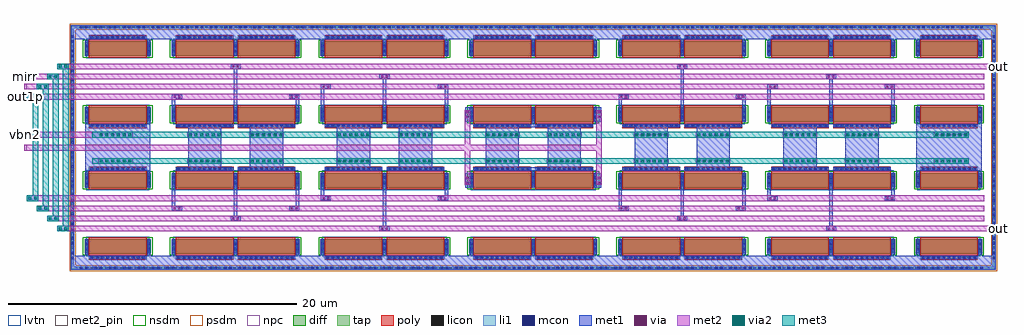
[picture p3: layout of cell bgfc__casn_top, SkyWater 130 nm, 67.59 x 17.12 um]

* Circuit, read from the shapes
.subckt bgfc__casn_top mirr out out1n out1p vbn1 vbn2
XM1 VSUBS VSUBS VSUBS VSUBS sky130_fd_pr__nfet_01v8_lvt w=1 l=4 m=24
XM2 vbn2 vbn2 vbn2 VSUBS sky130_fd_pr__nfet_01v8_lvt w=1 l=4 m=4
XM3 mirr vbn2 out1n VSUBS sky130_fd_pr__nfet_01v8_lvt w=1 l=4 m=8
XM4 out vbn2 out1p VSUBS sky130_fd_pr__nfet_01v8_lvt w=1 l=4 m=8
XM5 vbn2 vbn2 vbn1 VSUBS sky130_fd_pr__nfet_01v8_lvt w=1 l=4 m=4
.ends

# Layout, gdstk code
from math import pi, radians
import gdstk
lib = gdstk.Library(unit=1e-6, precision=1e-09)
def R(c, l, rs):  # rectangles x0, y0, x1, y1
    for r in rs: c.add(gdstk.rectangle(r[:2], r[2:], *l))
def A(c, l, x, y, w, h, nx, ny, dx, dy):  # array of equal rectangles
    R(c, l, [(x+i*dx, y+j*dy, x+i*dx+w, y+j*dy+h) for i in range(nx) for j in range(ny)])
diff = (65, 20)
tap = (65, 44)
poly = (66, 20)
licon = (66, 44)
li1 = (67, 20)
mcon = (67, 44)
met1 = (68, 20)
via = (68, 44)
met2_pin = (69, 16)
met2 = (69, 20)
via2 = (69, 44)
met3 = (70, 20)
nsdm = (93, 44)
psdm = (94, 20)
npc = (95, 20)
lvtn = (125, 44)

via__li_m1 = lib.new_cell('via__LI_M1')
R(via__li_m1, li1, [(0.03,0.03,0.56,0.2)])
R(via__li_m1, mcon, [(0.03,0.03,0.2,0.2), (0.39,0.03,0.56,0.2)])
R(via__li_m1, met1, [(0,0,0.59,0.23)])

bgfccnt__dum = lib.new_cell('bgfccnt__DUM')
R(bgfccnt__dum, diff, [(-2.29,-0.655,2.29,0.345)])
R(bgfccnt__dum, poly, [(-2,-0.785,2,0.785)])
A(bgfccnt__dum, licon, -2.23, -0.58, 0.17, 0.17, 1, 3, 0, 0.34)
A(bgfccnt__dum, licon, 2.06, -0.58, 0.17, 0.17, 1, 3, 0, 0.34)
A(bgfccnt__dum, licon, -1.785, 0.535, 0.17, 0.17, 11, 1, 0.34, 0)
R(bgfccnt__dum, li1, [(-2.23,-0.675,-2.06,0.365), (2.06,-0.675,2.23,0.365), (-2,0.535,2,0.705)])
A(bgfccnt__dum, mcon, -1.885, 0.535, 0.17, 0.17, 11, 1, 0.36, 0)
R(bgfccnt__dum, mcon, [(-2.23,-0.42,-2.06,-0.25), (2.06,-0.42,2.23,-0.25), (-2.23,-0.06,-2.06,0.11), (2.06,-0.06,2.23,0.11)])
R(bgfccnt__dum, met1, [(-2.26,-0.655,-2.03,0.345), (2.03,-0.655,2.26,0.345), (-1.98,0.505,1.98,0.735)])
R(bgfccnt__dum, nsdm, [(-2.415,-0.78,2.415,0.47)])
R(bgfccnt__dum, npc, [(-1.885,0.435,1.885,0.805)])
R(bgfccnt__dum, lvtn, [(-2.18,-0.835,2.18,0.525)])

via__m2_m3 = lib.new_cell('via__M2_M3')
R(via__m2_m3, met2, [(0,0,0.8,0.4)])
R(via__m2_m3, via2, [(0.1,0.1,0.3,0.3), (0.5,0.1,0.7,0.3)])
R(via__m2_m3, met3, [(0,0,0.8,0.4)])

via__m1_m2 = lib.new_cell('via__M1_M2')
R(via__m1_m2, met1, [(0,0.05,0.7,0.35)])
R(via__m1_m2, via, [(0.115,0.125,0.265,0.275), (0.435,0.125,0.585,0.275)])
R(via__m1_m2, met2, [(0.05,0,0.65,0.4)])

bgfccnt__m6 = lib.new_cell('bgfccnt__M6')
R(bgfccnt__m6, diff, [(-2.29,-0.655,2.29,0.345)])
R(bgfccnt__m6, poly, [(-2,-0.785,2,0.785)])
A(bgfccnt__m6, licon, -2.23, -0.58, 0.17, 0.17, 1, 3, 0, 0.34)
A(bgfccnt__m6, licon, 2.06, -0.58, 0.17, 0.17, 1, 3, 0, 0.34)
A(bgfccnt__m6, licon, -1.785, 0.535, 0.17, 0.17, 11, 1, 0.34, 0)
R(bgfccnt__m6, li1, [(-2.23,-0.675,-2.06,0.365), (2.06,-0.675,2.23,0.365), (-2,0.535,2,0.705)])
A(bgfccnt__m6, mcon, -1.885, 0.535, 0.17, 0.17, 11, 1, 0.36, 0)
R(bgfccnt__m6, mcon, [(-2.23,-0.42,-2.06,-0.25), (2.06,-0.42,2.23,-0.25), (-2.23,-0.06,-2.06,0.11), (2.06,-0.06,2.23,0.11)])
R(bgfccnt__m6, met1, [(-2.26,-0.655,-2.03,0.345), (2.03,-0.655,2.26,0.345), (-1.98,0.505,1.98,0.735)])
R(bgfccnt__m6, nsdm, [(-2.415,-0.78,2.415,0.47)])
R(bgfccnt__m6, npc, [(-1.885,0.435,1.885,0.805)])
R(bgfccnt__m6, lvtn, [(-2.18,-0.835,2.18,0.525)])

bgfccnt__m7 = lib.new_cell('bgfccnt__M7')
R(bgfccnt__m7, diff, [(-2.29,-0.655,2.29,0.345)])
R(bgfccnt__m7, poly, [(-2,-0.785,2,0.785)])
A(bgfccnt__m7, licon, -2.23, -0.58, 0.17, 0.17, 1, 3, 0, 0.34)
A(bgfccnt__m7, licon, 2.06, -0.58, 0.17, 0.17, 1, 3, 0, 0.34)
A(bgfccnt__m7, licon, -1.785, 0.535, 0.17, 0.17, 11, 1, 0.34, 0)
R(bgfccnt__m7, li1, [(-2.23,-0.675,-2.06,0.365), (2.06,-0.675,2.23,0.365), (-2,0.535,2,0.705)])
A(bgfccnt__m7, mcon, -1.885, 0.535, 0.17, 0.17, 11, 1, 0.36, 0)
R(bgfccnt__m7, mcon, [(-2.23,-0.42,-2.06,-0.25), (2.06,-0.42,2.23,-0.25), (-2.23,-0.06,-2.06,0.11), (2.06,-0.06,2.23,0.11)])
R(bgfccnt__m7, met1, [(-2.26,-0.655,-2.03,0.345), (2.03,-0.655,2.26,0.345), (-1.98,0.505,1.98,0.735)])
R(bgfccnt__m7, nsdm, [(-2.415,-0.78,2.415,0.47)])
R(bgfccnt__m7, npc, [(-1.885,0.435,1.885,0.805)])
R(bgfccnt__m7, lvtn, [(-2.18,-0.835,2.18,0.525)])

bgfccnt__mb4 = lib.new_cell('bgfccnt__MB4')
R(bgfccnt__mb4, diff, [(-2.29,-0.655,2.29,0.345)])
R(bgfccnt__mb4, poly, [(-2,-0.785,2,0.785)])
A(bgfccnt__mb4, licon, -2.23, -0.58, 0.17, 0.17, 1, 3, 0, 0.34)
A(bgfccnt__mb4, licon, 2.06, -0.58, 0.17, 0.17, 1, 3, 0, 0.34)
A(bgfccnt__mb4, licon, -1.785, 0.535, 0.17, 0.17, 11, 1, 0.34, 0)
R(bgfccnt__mb4, li1, [(-2.23,-0.675,-2.06,0.365), (2.06,-0.675,2.23,0.365), (-2,0.535,2,0.705)])
A(bgfccnt__mb4, mcon, -1.885, 0.535, 0.17, 0.17, 11, 1, 0.36, 0)
R(bgfccnt__mb4, mcon, [(-2.23,-0.42,-2.06,-0.25), (2.06,-0.42,2.23,-0.25), (-2.23,-0.06,-2.06,0.11), (2.06,-0.06,2.23,0.11)])
R(bgfccnt__mb4, met1, [(-2.26,-0.655,-2.03,0.345), (2.03,-0.655,2.26,0.345), (-1.98,0.505,1.98,0.735)])
R(bgfccnt__mb4, nsdm, [(-2.415,-0.78,2.415,0.47)])
R(bgfccnt__mb4, npc, [(-1.885,0.435,1.885,0.805)])
R(bgfccnt__mb4, lvtn, [(-2.18,-0.835,2.18,0.525)])

bgfccnt__guardring_n = lib.new_cell('bgfccnt__Guardring_N')
R(bgfccnt__guardring_n, tap, [(-130.79,26.455,-66.8,26.625), (-130.79,26.625,-130.62,43.16), (-66.97,26.625,-66.8,43.16), (-130.79,43.16,-66.8,43.33)])
A(bgfccnt__guardring_n, licon, -129.79, 26.455, 0.17, 0.17, 182, 1, 0.34, 0)
A(bgfccnt__guardring_n, licon, -130.79, 27.54, 0.17, 0.17, 1, 44, 0, 0.34)
A(bgfccnt__guardring_n, licon, -66.97, 27.54, 0.17, 0.17, 1, 44, 0, 0.34)
A(bgfccnt__guardring_n, licon, -130, 43.16, 0.17, 0.17, 183, 1, 0.34, 0)
R(bgfccnt__guardring_n, li1, [(-130.79,26.455,-66.8,26.625), (-130.79,26.625,-130.62,43.16), (-66.97,26.625,-66.8,43.16), (-130.79,43.16,-66.8,43.33)])
R(bgfccnt__guardring_n, psdm, [(-130.915,26.33,-66.675,26.75), (-130.915,26.75,-130.495,43.035), (-67.095,26.75,-66.675,43.035), (-130.915,43.035,-66.675,43.455)])

bgfc__casn_top = lib.new_cell('bgfc__casn_top')
A(bgfc__casn_top, met1, 10.25, 1.055, 0.23, 0.32, 3, 2, 4.29, 14.695)
A(bgfc__casn_top, met1, 20.56, 1.055, 0.23, 0.32, 3, 2, 4.29, 14.695)
A(bgfc__casn_top, met1, 30.87, 1.055, 0.23, 0.32, 3, 2, 4.29, 14.695)
A(bgfc__casn_top, met1, 41.18, 1.055, 0.23, 0.32, 3, 2, 4.29, 14.695)
A(bgfc__casn_top, met1, 51.49, 1.055, 0.23, 0.32, 3, 2, 4.29, 14.695)
R(bgfc__casn_top, met1, [(3.25,0.095,67.3,1.055), (3.25,1.055,3.48,16.07), (4.23,1.055,4.46,1.375), (8.52,1.055,8.75,1.375), (61.8,1.055,62.03,1.375), (66.09,1.055,66.32,1.375), (67.07,1.055,67.3,16.07), (24.85,2.795,25.08,5.79), (55.78,2.795,56.01,5.79), (14.54,3.495,14.77,5.79), (45.47,3.495,45.7,5.79), (10.25,4.195,10.48,5.79), (18.83,4.195,19.06,5.79), (41.18,4.195,41.41,5.79), (49.76,4.195,49.99,5.79), (20.56,4.895,20.79,5.79), (29.14,4.895,29.37,5.79), (51.49,4.895,51.72,5.79), (60.07,4.895,60.3,5.79), (30.57,5.79,31.1,6.79), (39.45,5.79,39.98,6.79), (4.23,6.63,4.46,6.95), (8.52,6.63,8.75,6.95), (61.8,6.63,62.03,6.95), (66.09,6.63,66.32,6.95), (35.16,6.79,35.39,6.95), (4.23,6.95,4.625,7.18), (8.355,6.95,8.75,7.18), (35.11,6.95,35.44,7.18), (61.8,6.95,62.195,7.18), (65.925,6.95,66.32,7.18), (4.23,7.18,8.75,9.96), (11.36,7.18,13.66,9.96), (15.65,7.18,17.95,9.96), (21.67,7.18,23.97,9.96), (25.96,7.18,28.26,9.96), (31.98,7.18,34.28,9.96), (36.27,7.18,38.57,9.96), (42.29,7.18,44.59,9.96), (46.58,7.18,48.88,9.96), (52.6,7.18,54.9,9.96), (56.89,7.18,59.19,9.96), (61.8,7.18,66.32,9.96), (4.23,9.96,4.625,10.19), (8.355,9.96,8.75,10.19), (35.11,9.96,35.44,10.19), (61.8,9.96,62.195,10.19), (65.925,9.96,66.32,10.19), (4.23,10.19,4.46,10.51), (8.52,10.19,8.75,10.51), (35.16,10.19,35.39,10.35), (61.8,10.19,62.03,10.51), (66.09,10.19,66.32,10.51), (30.57,10.35,31.1,11.35), (39.45,10.35,39.98,11.35), (10.25,11.35,10.48,12.23), (14.54,11.35,14.77,14.33), (18.83,11.35,19.06,12.23), (20.56,11.35,20.79,12.93), (24.85,11.35,25.08,13.63), (29.14,11.35,29.37,12.93), (41.18,11.35,41.41,12.23), (45.47,11.35,45.7,14.33), (49.76,11.35,49.99,12.23), (51.49,11.35,51.72,12.93), (55.78,11.35,56.01,13.63), (60.07,11.35,60.3,12.93), (4.23,15.75,4.46,16.07), (8.52,15.75,8.75,16.07), (61.8,15.75,62.03,16.07), (66.09,15.75,66.32,16.07), (3.25,16.07,67.3,17.03)])
A(bgfc__casn_top, met2_pin, 0, 11.88, 0.2, 0.4, 1, 3, 0, 0.7)
R(bgfc__casn_top, met2_pin, [(67.395,2.745,67.595,3.145), (0,8.34,0.2,8.74), (0,9.255,0.2,9.655), (67.395,13.98,67.595,14.38)])
A(bgfc__casn_top, met2, 0, 11.88, 66.505, 0.4, 1, 3, 0, 0.7)
R(bgfc__casn_top, met2, [(2.3,2.745,67.595,3.145), (1.6,3.445,66.505,3.845), (0.9,4.145,66.505,4.545), (0.2,4.845,66.505,5.245), (39.63,5.99,40.03,8.34), (30.52,6.08,30.92,8.34), (0,8.34,40.03,8.74), (30.52,8.74,30.92,11.15), (39.63,8.74,40.03,11.15), (0,9.255,5.13,9.655), (2.3,13.98,67.595,14.38)])
R(bgfc__casn_top, met3, [(2.7,2.745,3.1,13.98), (2,3.445,2.4,13.28), (1.3,4.145,1.7,12.58), (0.6,4.845,1,11.88), (4.73,7.425,65.42,7.825), (4.73,9.255,65.42,9.655)])
bgfc__casn_top.add(gdstk.Reference(via__li_m1, (3.25,1.375), rotation=3*pi/2))
bgfc__casn_top.add(gdstk.Reference(via__li_m1, (3.835,0.095)))
bgfc__casn_top.add(gdstk.Reference(via__li_m1, (4.835,0.095)))
bgfc__casn_top.add(gdstk.Reference(bgfccnt__dum, (6.49,1.56), rotation=pi))
bgfc__casn_top.add(gdstk.Reference(via__li_m1, (5.835,0.095)))
bgfc__casn_top.add(gdstk.Reference(via__li_m1, (6.835,0.095)))
bgfc__casn_top.add(gdstk.Reference(via__li_m1, (7.835,0.095)))
bgfc__casn_top.add(gdstk.Reference(via__li_m1, (8.835,0.095)))
bgfc__casn_top.add(gdstk.Reference(via__li_m1, (9.835,0.095)))
bgfc__casn_top.add(gdstk.Reference(via__li_m1, (10.835,0.095)))
bgfc__casn_top.add(gdstk.Reference(via__li_m1, (11.835,0.095)))
bgfc__casn_top.add(gdstk.Reference(via__li_m1, (12.835,0.095)))
bgfc__casn_top.add(gdstk.Reference(via__li_m1, (13.835,0.095)))
bgfc__casn_top.add(gdstk.Reference(bgfccnt__dum, (12.51,1.56), rotation=pi))
bgfc__casn_top.add(gdstk.Reference(bgfccnt__dum, (16.8,1.56), rotation=pi))
bgfc__casn_top.add(gdstk.Reference(via__li_m1, (14.835,0.095)))
bgfc__casn_top.add(gdstk.Reference(via__li_m1, (15.835,0.095)))
bgfc__casn_top.add(gdstk.Reference(via__li_m1, (16.835,0.095)))
bgfc__casn_top.add(gdstk.Reference(via__li_m1, (17.835,0.095)))
bgfc__casn_top.add(gdstk.Reference(via__li_m1, (18.835,0.095)))
bgfc__casn_top.add(gdstk.Reference(via__li_m1, (19.835,0.095)))
bgfc__casn_top.add(gdstk.Reference(via__li_m1, (20.835,0.095)))
bgfc__casn_top.add(gdstk.Reference(via__li_m1, (21.835,0.095)))
bgfc__casn_top.add(gdstk.Reference(via__li_m1, (22.835,0.095)))
bgfc__casn_top.add(gdstk.Reference(via__li_m1, (23.835,0.095)))
bgfc__casn_top.add(gdstk.Reference(bgfccnt__dum, (22.82,1.56), rotation=pi))
bgfc__casn_top.add(gdstk.Reference(via__li_m1, (24.835,0.095)))
bgfc__casn_top.add(gdstk.Reference(via__li_m1, (25.835,0.095)))
bgfc__casn_top.add(gdstk.Reference(via__li_m1, (26.835,0.095)))
bgfc__casn_top.add(gdstk.Reference(via__li_m1, (27.835,0.095)))
bgfc__casn_top.add(gdstk.Reference(via__li_m1, (28.835,0.095)))
bgfc__casn_top.add(gdstk.Reference(bgfccnt__dum, (27.11,1.56), rotation=pi))
bgfc__casn_top.add(gdstk.Reference(via__li_m1, (29.835,0.095)))
bgfc__casn_top.add(gdstk.Reference(via__li_m1, (30.835,0.095)))
bgfc__casn_top.add(gdstk.Reference(via__li_m1, (31.835,0.095)))
bgfc__casn_top.add(gdstk.Reference(via__li_m1, (32.835,0.095)))
bgfc__casn_top.add(gdstk.Reference(via__li_m1, (33.835,0.095)))
bgfc__casn_top.add(gdstk.Reference(bgfccnt__dum, (33.13,1.56), rotation=pi))
bgfc__casn_top.add(gdstk.Reference(via__li_m1, (34.835,0.095)))
bgfc__casn_top.add(gdstk.Reference(via__li_m1, (35.835,0.095)))
bgfc__casn_top.add(gdstk.Reference(via__li_m1, (36.835,0.095)))
bgfc__casn_top.add(gdstk.Reference(via__li_m1, (37.835,0.095)))
bgfc__casn_top.add(gdstk.Reference(via__li_m1, (38.835,0.095)))
bgfc__casn_top.add(gdstk.Reference(bgfccnt__dum, (37.42,1.56), rotation=pi))
bgfc__casn_top.add(gdstk.Reference(via__li_m1, (39.835,0.095)))
bgfc__casn_top.add(gdstk.Reference(via__li_m1, (40.835,0.095)))
bgfc__casn_top.add(gdstk.Reference(via__li_m1, (41.835,0.095)))
bgfc__casn_top.add(gdstk.Reference(via__li_m1, (42.835,0.095)))
bgfc__casn_top.add(gdstk.Reference(bgfccnt__dum, (43.44,1.56), rotation=pi))
bgfc__casn_top.add(gdstk.Reference(via__li_m1, (43.835,0.095)))
bgfc__casn_top.add(gdstk.Reference(via__li_m1, (44.835,0.095)))
bgfc__casn_top.add(gdstk.Reference(via__li_m1, (45.835,0.095)))
bgfc__casn_top.add(gdstk.Reference(via__li_m1, (46.835,0.095)))
bgfc__casn_top.add(gdstk.Reference(via__li_m1, (47.835,0.095)))
bgfc__casn_top.add(gdstk.Reference(bgfccnt__dum, (47.73,1.56), rotation=pi))
bgfc__casn_top.add(gdstk.Reference(via__li_m1, (48.835,0.095)))
bgfc__casn_top.add(gdstk.Reference(via__li_m1, (49.835,0.095)))
bgfc__casn_top.add(gdstk.Reference(via__li_m1, (50.835,0.095)))
bgfc__casn_top.add(gdstk.Reference(via__li_m1, (51.835,0.095)))
bgfc__casn_top.add(gdstk.Reference(via__li_m1, (52.835,0.095)))
bgfc__casn_top.add(gdstk.Reference(bgfccnt__dum, (53.75,1.56), rotation=pi))
bgfc__casn_top.add(gdstk.Reference(via__li_m1, (53.835,0.095)))
bgfc__casn_top.add(gdstk.Reference(via__li_m1, (54.835,0.095)))
bgfc__casn_top.add(gdstk.Reference(via__li_m1, (55.835,0.095)))
bgfc__casn_top.add(gdstk.Reference(via__li_m1, (56.835,0.095)))
bgfc__casn_top.add(gdstk.Reference(via__li_m1, (57.835,0.095)))
bgfc__casn_top.add(gdstk.Reference(bgfccnt__dum, (58.04,1.56), rotation=pi))
bgfc__casn_top.add(gdstk.Reference(via__li_m1, (58.835,0.095)))
bgfc__casn_top.add(gdstk.Reference(via__li_m1, (59.835,0.095)))
bgfc__casn_top.add(gdstk.Reference(via__li_m1, (60.835,0.095)))
bgfc__casn_top.add(gdstk.Reference(via__li_m1, (61.835,0.095)))
bgfc__casn_top.add(gdstk.Reference(via__li_m1, (62.835,0.095)))
bgfc__casn_top.add(gdstk.Reference(bgfccnt__dum, (64.06,1.56), rotation=pi))
bgfc__casn_top.add(gdstk.Reference(via__li_m1, (63.835,0.095)))
bgfc__casn_top.add(gdstk.Reference(via__li_m1, (64.835,0.095)))
bgfc__casn_top.add(gdstk.Reference(via__li_m1, (65.835,0.095)))
bgfc__casn_top.add(gdstk.Reference(via__li_m1, (67.07,1.375), rotation=3*pi/2))
bgfc__casn_top.add(gdstk.Reference(via__li_m1, (3.25,2.375), rotation=3*pi/2))
bgfc__casn_top.add(gdstk.Reference(via__li_m1, (3.25,3.375), rotation=3*pi/2))
bgfc__casn_top.add(gdstk.Reference(via__m2_m3, (2.3,2.745)))
bgfc__casn_top.add(gdstk.Reference(via__m1_m2, (24.615,2.745)))
bgfc__casn_top.add(gdstk.Reference(via__m1_m2, (55.545,2.745)))
bgfc__casn_top.add(gdstk.Reference(via__li_m1, (67.07,2.375), rotation=3*pi/2))
bgfc__casn_top.add(gdstk.Reference(via__li_m1, (67.07,3.375), rotation=3*pi/2))
bgfc__casn_top.add(gdstk.Reference(via__li_m1, (3.25,4.375), rotation=3*pi/2))
bgfc__casn_top.add(gdstk.Reference(via__m2_m3, (1.6,3.445)))
bgfc__casn_top.add(gdstk.Reference(via__m2_m3, (0.9,4.145)))
bgfc__casn_top.add(gdstk.Reference(via__m1_m2, (14.305,3.445)))
bgfc__casn_top.add(gdstk.Reference(via__m1_m2, (10.95,4.145), rotation=pi, x_reflection=True))
bgfc__casn_top.add(gdstk.Reference(via__m1_m2, (18.36,4.145)))
bgfc__casn_top.add(gdstk.Reference(via__m1_m2, (41.88,4.145), rotation=pi, x_reflection=True))
bgfc__casn_top.add(gdstk.Reference(via__m1_m2, (45.235,3.445)))
bgfc__casn_top.add(gdstk.Reference(via__m1_m2, (49.29,4.145)))
bgfc__casn_top.add(gdstk.Reference(via__li_m1, (67.07,4.375), rotation=3*pi/2))
bgfc__casn_top.add(gdstk.Reference(via__li_m1, (3.25,5.375), rotation=3*pi/2))
bgfc__casn_top.add(gdstk.Reference(via__li_m1, (3.25,6.375), rotation=3*pi/2))
bgfc__casn_top.add(gdstk.Reference(bgfccnt__dum, (6.49,6.445)))
bgfc__casn_top.add(gdstk.Reference(via__m2_m3, (0.2,4.845)))
bgfc__casn_top.add(gdstk.Reference(bgfccnt__m6, (16.8,6.445)))
bgfc__casn_top.add(gdstk.Reference(bgfccnt__m6, (12.51,6.445)))
bgfc__casn_top.add(gdstk.Reference(via__m1_m2, (21.26,4.845), rotation=pi, x_reflection=True))
bgfc__casn_top.add(gdstk.Reference(bgfccnt__m7, (22.82,6.445)))
bgfc__casn_top.add(gdstk.Reference(via__m1_m2, (28.67,4.845)))
bgfc__casn_top.add(gdstk.Reference(bgfccnt__m7, (27.11,6.445)))
bgfc__casn_top.add(gdstk.Reference(via__m1_m2, (30.92,6.64), rotation=3*pi/2, x_reflection=True))
bgfc__casn_top.add(gdstk.Reference(bgfccnt__mb4, (33.13,6.445)))
bgfc__casn_top.add(gdstk.Reference(bgfccnt__mb4, (37.42,6.445)))
bgfc__casn_top.add(gdstk.Reference(bgfccnt__m6, (43.44,6.445)))
bgfc__casn_top.add(gdstk.Reference(via__m1_m2, (40.03,6.64), rotation=3*pi/2, x_reflection=True))
bgfc__casn_top.add(gdstk.Reference(bgfccnt__m6, (47.73,6.445)))
bgfc__casn_top.add(gdstk.Reference(bgfccnt__m7, (53.75,6.445)))
bgfc__casn_top.add(gdstk.Reference(via__m1_m2, (52.19,4.845), rotation=pi, x_reflection=True))
bgfc__casn_top.add(gdstk.Reference(bgfccnt__m7, (58.04,6.445)))
bgfc__casn_top.add(gdstk.Reference(via__m1_m2, (59.6,4.845)))
bgfc__casn_top.add(gdstk.Reference(bgfccnt__dum, (64.06,6.445)))
bgfc__casn_top.add(gdstk.Reference(via__li_m1, (67.07,5.375), rotation=3*pi/2))
bgfc__casn_top.add(gdstk.Reference(via__li_m1, (67.07,6.375), rotation=3*pi/2))
bgfc__casn_top.add(gdstk.Reference(via__li_m1, (3.25,7.375), rotation=3*pi/2))
bgfc__casn_top.add(gdstk.Reference(via__li_m1, (3.25,8.375), rotation=3*pi/2))
bgfc__casn_top.add(gdstk.Reference(via__m2_m3, (6.73,7.425)))
bgfc__casn_top.add(gdstk.Reference(via__m2_m3, (5.93,7.425)))
bgfc__casn_top.add(gdstk.Reference(via__m2_m3, (5.13,7.425)))
bgfc__casn_top.add(gdstk.Reference(via__m1_m2, (7.48,7.825), rotation=pi))
bgfc__casn_top.add(gdstk.Reference(via__m1_m2, (6.68,7.825), rotation=pi))
bgfc__casn_top.add(gdstk.Reference(via__m1_m2, (5.88,7.825), rotation=pi))
bgfc__casn_top.add(gdstk.Reference(via__m2_m3, (12.91,7.425)))
bgfc__casn_top.add(gdstk.Reference(via__m2_m3, (12.11,7.425)))
bgfc__casn_top.add(gdstk.Reference(via__m2_m3, (11.31,7.425)))
bgfc__casn_top.add(gdstk.Reference(via__m1_m2, (13.66,7.825), rotation=pi))
bgfc__casn_top.add(gdstk.Reference(via__m1_m2, (12.86,7.825), rotation=pi))
bgfc__casn_top.add(gdstk.Reference(via__m1_m2, (12.06,7.825), rotation=pi))
bgfc__casn_top.add(gdstk.Reference(via__m2_m3, (17.2,7.425)))
bgfc__casn_top.add(gdstk.Reference(via__m2_m3, (16.4,7.425)))
bgfc__casn_top.add(gdstk.Reference(via__m2_m3, (15.6,7.425)))
bgfc__casn_top.add(gdstk.Reference(via__m1_m2, (17.95,7.825), rotation=pi))
bgfc__casn_top.add(gdstk.Reference(via__m1_m2, (17.15,7.825), rotation=pi))
bgfc__casn_top.add(gdstk.Reference(via__m1_m2, (16.35,7.825), rotation=pi))
bgfc__casn_top.add(gdstk.Reference(via__m2_m3, (23.22,7.425)))
bgfc__casn_top.add(gdstk.Reference(via__m2_m3, (22.42,7.425)))
bgfc__casn_top.add(gdstk.Reference(via__m2_m3, (21.62,7.425)))
bgfc__casn_top.add(gdstk.Reference(via__m1_m2, (23.97,7.825), rotation=pi))
bgfc__casn_top.add(gdstk.Reference(via__m1_m2, (23.17,7.825), rotation=pi))
bgfc__casn_top.add(gdstk.Reference(via__m1_m2, (22.37,7.825), rotation=pi))
bgfc__casn_top.add(gdstk.Reference(via__m2_m3, (27.51,7.425)))
bgfc__casn_top.add(gdstk.Reference(via__m2_m3, (26.71,7.425)))
bgfc__casn_top.add(gdstk.Reference(via__m2_m3, (25.91,7.425)))
bgfc__casn_top.add(gdstk.Reference(via__m1_m2, (28.26,7.825), rotation=pi))
bgfc__casn_top.add(gdstk.Reference(via__m1_m2, (27.46,7.825), rotation=pi))
bgfc__casn_top.add(gdstk.Reference(via__m1_m2, (26.66,7.825), rotation=pi))
bgfc__casn_top.add(gdstk.Reference(via__m2_m3, (32.73,7.425)))
bgfc__casn_top.add(gdstk.Reference(via__m2_m3, (31.93,7.425)))
bgfc__casn_top.add(gdstk.Reference(via__m1_m2, (33.48,7.825), rotation=pi))
bgfc__casn_top.add(gdstk.Reference(via__m1_m2, (32.68,7.825), rotation=pi))
bgfc__casn_top.add(gdstk.Reference(via__m2_m3, (33.53,7.425)))
bgfc__casn_top.add(gdstk.Reference(via__m1_m2, (34.28,7.825), rotation=pi))
bgfc__casn_top.add(gdstk.Reference(via__m2_m3, (37.82,7.425)))
bgfc__casn_top.add(gdstk.Reference(via__m2_m3, (37.02,7.425)))
bgfc__casn_top.add(gdstk.Reference(via__m2_m3, (36.22,7.425)))
bgfc__casn_top.add(gdstk.Reference(via__m1_m2, (38.57,7.825), rotation=pi))
bgfc__casn_top.add(gdstk.Reference(via__m1_m2, (37.77,7.825), rotation=pi))
bgfc__casn_top.add(gdstk.Reference(via__m1_m2, (36.97,7.825), rotation=pi))
bgfc__casn_top.add(gdstk.Reference(via__m2_m3, (43.04,7.425)))
bgfc__casn_top.add(gdstk.Reference(via__m2_m3, (42.24,7.425)))
bgfc__casn_top.add(gdstk.Reference(via__m1_m2, (43.79,7.825), rotation=pi))
bgfc__casn_top.add(gdstk.Reference(via__m1_m2, (42.99,7.825), rotation=pi))
bgfc__casn_top.add(gdstk.Reference(via__m2_m3, (48.13,7.425)))
bgfc__casn_top.add(gdstk.Reference(via__m2_m3, (47.33,7.425)))
bgfc__casn_top.add(gdstk.Reference(via__m2_m3, (46.53,7.425)))
bgfc__casn_top.add(gdstk.Reference(via__m1_m2, (48.88,7.825), rotation=pi))
bgfc__casn_top.add(gdstk.Reference(via__m1_m2, (48.08,7.825), rotation=pi))
bgfc__casn_top.add(gdstk.Reference(via__m1_m2, (47.28,7.825), rotation=pi))
bgfc__casn_top.add(gdstk.Reference(via__m2_m3, (43.84,7.425)))
bgfc__casn_top.add(gdstk.Reference(via__m1_m2, (44.59,7.825), rotation=pi))
bgfc__casn_top.add(gdstk.Reference(via__m2_m3, (53.35,7.425)))
bgfc__casn_top.add(gdstk.Reference(via__m2_m3, (52.55,7.425)))
bgfc__casn_top.add(gdstk.Reference(via__m1_m2, (54.1,7.825), rotation=pi))
bgfc__casn_top.add(gdstk.Reference(via__m1_m2, (53.3,7.825), rotation=pi))
bgfc__casn_top.add(gdstk.Reference(via__m2_m3, (57.64,7.425)))
bgfc__casn_top.add(gdstk.Reference(via__m2_m3, (56.84,7.425)))
bgfc__casn_top.add(gdstk.Reference(via__m1_m2, (58.39,7.825), rotation=pi))
bgfc__casn_top.add(gdstk.Reference(via__m1_m2, (57.59,7.825), rotation=pi))
bgfc__casn_top.add(gdstk.Reference(via__m2_m3, (54.15,7.425)))
bgfc__casn_top.add(gdstk.Reference(via__m1_m2, (54.9,7.825), rotation=pi))
bgfc__casn_top.add(gdstk.Reference(via__m2_m3, (63.82,7.825), rotation=pi))
bgfc__casn_top.add(gdstk.Reference(via__m1_m2, (63.07,7.825), x_reflection=True))
bgfc__casn_top.add(gdstk.Reference(via__m2_m3, (58.44,7.425)))
bgfc__casn_top.add(gdstk.Reference(via__m1_m2, (59.19,7.825), rotation=pi))
bgfc__casn_top.add(gdstk.Reference(via__li_m1, (67.07,7.375), rotation=3*pi/2))
bgfc__casn_top.add(gdstk.Reference(via__li_m1, (67.07,8.375), rotation=3*pi/2))
bgfc__casn_top.add(gdstk.Reference(via__m2_m3, (64.62,7.825), rotation=pi))
bgfc__casn_top.add(gdstk.Reference(via__m2_m3, (65.42,7.825), rotation=pi))
bgfc__casn_top.add(gdstk.Reference(via__m1_m2, (63.87,7.825), x_reflection=True))
bgfc__casn_top.add(gdstk.Reference(via__m1_m2, (64.67,7.825), x_reflection=True))
bgfc__casn_top.add(gdstk.Reference(via__li_m1, (3.25,9.375), rotation=3*pi/2))
bgfc__casn_top.add(gdstk.Reference(via__li_m1, (3.25,10.375), rotation=3*pi/2))
bgfc__casn_top.add(gdstk.Reference(bgfccnt__dum, (6.49,10.695), x_reflection=True))
bgfc__casn_top.add(gdstk.Reference(via__m2_m3, (6.73,9.255)))
bgfc__casn_top.add(gdstk.Reference(via__m2_m3, (5.93,9.255)))
bgfc__casn_top.add(gdstk.Reference(via__m2_m3, (5.13,9.255)))
bgfc__casn_top.add(gdstk.Reference(via__m1_m2, (7.48,9.655), rotation=pi))
bgfc__casn_top.add(gdstk.Reference(via__m1_m2, (6.68,9.655), rotation=pi))
bgfc__casn_top.add(gdstk.Reference(via__m1_m2, (5.88,9.655), rotation=pi))
bgfc__casn_top.add(gdstk.Reference(bgfccnt__m7, (12.51,10.695), x_reflection=True))
bgfc__casn_top.add(gdstk.Reference(bgfccnt__m7, (16.8,10.695), x_reflection=True))
bgfc__casn_top.add(gdstk.Reference(via__m2_m3, (12.91,9.255)))
bgfc__casn_top.add(gdstk.Reference(via__m2_m3, (12.11,9.255)))
bgfc__casn_top.add(gdstk.Reference(via__m2_m3, (11.31,9.255)))
bgfc__casn_top.add(gdstk.Reference(via__m1_m2, (13.66,9.655), rotation=pi))
bgfc__casn_top.add(gdstk.Reference(via__m1_m2, (12.86,9.655), rotation=pi))
bgfc__casn_top.add(gdstk.Reference(via__m1_m2, (12.06,9.655), rotation=pi))
bgfc__casn_top.add(gdstk.Reference(via__m2_m3, (17.2,9.255)))
bgfc__casn_top.add(gdstk.Reference(via__m2_m3, (16.4,9.255)))
bgfc__casn_top.add(gdstk.Reference(via__m2_m3, (15.6,9.255)))
bgfc__casn_top.add(gdstk.Reference(via__m1_m2, (17.95,9.655), rotation=pi))
bgfc__casn_top.add(gdstk.Reference(via__m1_m2, (17.15,9.655), rotation=pi))
bgfc__casn_top.add(gdstk.Reference(via__m1_m2, (16.35,9.655), rotation=pi))
bgfc__casn_top.add(gdstk.Reference(bgfccnt__m6, (22.82,10.695), x_reflection=True))
bgfc__casn_top.add(gdstk.Reference(via__m2_m3, (23.22,9.255)))
bgfc__casn_top.add(gdstk.Reference(via__m2_m3, (22.42,9.255)))
bgfc__casn_top.add(gdstk.Reference(via__m2_m3, (21.62,9.255)))
bgfc__casn_top.add(gdstk.Reference(via__m1_m2, (23.97,9.655), rotation=pi))
bgfc__casn_top.add(gdstk.Reference(via__m1_m2, (23.17,9.655), rotation=pi))
bgfc__casn_top.add(gdstk.Reference(via__m1_m2, (22.37,9.655), rotation=pi))
bgfc__casn_top.add(gdstk.Reference(bgfccnt__m6, (27.11,10.695), x_reflection=True))
bgfc__casn_top.add(gdstk.Reference(via__m2_m3, (27.51,9.255)))
bgfc__casn_top.add(gdstk.Reference(via__m2_m3, (26.71,9.255)))
bgfc__casn_top.add(gdstk.Reference(via__m2_m3, (25.91,9.255)))
bgfc__casn_top.add(gdstk.Reference(via__m1_m2, (28.26,9.655), rotation=pi))
bgfc__casn_top.add(gdstk.Reference(via__m1_m2, (27.46,9.655), rotation=pi))
bgfc__casn_top.add(gdstk.Reference(via__m1_m2, (26.66,9.655), rotation=pi))
bgfc__casn_top.add(gdstk.Reference(via__m2_m3, (32.73,9.255)))
bgfc__casn_top.add(gdstk.Reference(via__m2_m3, (31.93,9.255)))
bgfc__casn_top.add(gdstk.Reference(via__m1_m2, (33.48,9.655), rotation=pi))
bgfc__casn_top.add(gdstk.Reference(via__m1_m2, (32.68,9.655), rotation=pi))
bgfc__casn_top.add(gdstk.Reference(via__m2_m3, (33.53,9.255)))
bgfc__casn_top.add(gdstk.Reference(via__m1_m2, (34.28,9.655), rotation=pi))
bgfc__casn_top.add(gdstk.Reference(bgfccnt__mb4, (33.13,10.695), x_reflection=True))
bgfc__casn_top.add(gdstk.Reference(via__m2_m3, (37.82,9.255)))
bgfc__casn_top.add(gdstk.Reference(via__m2_m3, (37.02,9.255)))
bgfc__casn_top.add(gdstk.Reference(via__m2_m3, (36.22,9.255)))
bgfc__casn_top.add(gdstk.Reference(via__m1_m2, (38.57,9.655), rotation=pi))
bgfc__casn_top.add(gdstk.Reference(via__m1_m2, (37.77,9.655), rotation=pi))
bgfc__casn_top.add(gdstk.Reference(via__m1_m2, (36.97,9.655), rotation=pi))
bgfc__casn_top.add(gdstk.Reference(bgfccnt__mb4, (37.42,10.695), x_reflection=True))
bgfc__casn_top.add(gdstk.Reference(via__m2_m3, (43.04,9.255)))
bgfc__casn_top.add(gdstk.Reference(via__m2_m3, (42.24,9.255)))
bgfc__casn_top.add(gdstk.Reference(via__m1_m2, (43.79,9.655), rotation=pi))
bgfc__casn_top.add(gdstk.Reference(via__m1_m2, (42.99,9.655), rotation=pi))
bgfc__casn_top.add(gdstk.Reference(bgfccnt__m7, (43.44,10.695), x_reflection=True))
bgfc__casn_top.add(gdstk.Reference(via__m2_m3, (48.13,9.255)))
bgfc__casn_top.add(gdstk.Reference(via__m2_m3, (47.33,9.255)))
bgfc__casn_top.add(gdstk.Reference(via__m2_m3, (46.53,9.255)))
bgfc__casn_top.add(gdstk.Reference(via__m1_m2, (48.88,9.655), rotation=pi))
bgfc__casn_top.add(gdstk.Reference(via__m1_m2, (48.08,9.655), rotation=pi))
bgfc__casn_top.add(gdstk.Reference(via__m1_m2, (47.28,9.655), rotation=pi))
bgfc__casn_top.add(gdstk.Reference(via__m2_m3, (43.84,9.255)))
bgfc__casn_top.add(gdstk.Reference(via__m1_m2, (44.59,9.655), rotation=pi))
bgfc__casn_top.add(gdstk.Reference(bgfccnt__m7, (47.73,10.695), x_reflection=True))
bgfc__casn_top.add(gdstk.Reference(via__m2_m3, (53.35,9.255)))
bgfc__casn_top.add(gdstk.Reference(via__m2_m3, (52.55,9.255)))
bgfc__casn_top.add(gdstk.Reference(via__m1_m2, (54.1,9.655), rotation=pi))
bgfc__casn_top.add(gdstk.Reference(via__m1_m2, (53.3,9.655), rotation=pi))
bgfc__casn_top.add(gdstk.Reference(bgfccnt__m6, (53.75,10.695), x_reflection=True))
bgfc__casn_top.add(gdstk.Reference(via__m2_m3, (57.64,9.255)))
bgfc__casn_top.add(gdstk.Reference(via__m2_m3, (56.84,9.255)))
bgfc__casn_top.add(gdstk.Reference(via__m1_m2, (58.39,9.655), rotation=pi))
bgfc__casn_top.add(gdstk.Reference(via__m1_m2, (57.59,9.655), rotation=pi))
bgfc__casn_top.add(gdstk.Reference(via__m2_m3, (54.15,9.255)))
bgfc__casn_top.add(gdstk.Reference(via__m1_m2, (54.9,9.655), rotation=pi))
bgfc__casn_top.add(gdstk.Reference(bgfccnt__m6, (58.04,10.695), x_reflection=True))
bgfc__casn_top.add(gdstk.Reference(via__m2_m3, (63.82,9.655), rotation=pi))
bgfc__casn_top.add(gdstk.Reference(via__m1_m2, (63.07,9.655), x_reflection=True))
bgfc__casn_top.add(gdstk.Reference(via__m2_m3, (58.44,9.255)))
bgfc__casn_top.add(gdstk.Reference(via__m1_m2, (59.19,9.655), rotation=pi))
bgfc__casn_top.add(gdstk.Reference(bgfccnt__dum, (64.06,10.695), x_reflection=True))
bgfc__casn_top.add(gdstk.Reference(via__li_m1, (67.07,9.375), rotation=3*pi/2))
bgfc__casn_top.add(gdstk.Reference(via__li_m1, (67.07,10.375), rotation=3*pi/2))
bgfc__casn_top.add(gdstk.Reference(via__m2_m3, (64.62,9.655), rotation=pi))
bgfc__casn_top.add(gdstk.Reference(via__m2_m3, (65.42,9.655), rotation=pi))
bgfc__casn_top.add(gdstk.Reference(via__m1_m2, (63.87,9.655), x_reflection=True))
bgfc__casn_top.add(gdstk.Reference(via__m1_m2, (64.67,9.655), x_reflection=True))
bgfc__casn_top.add(gdstk.Reference(via__li_m1, (3.25,11.375), rotation=3*pi/2))
bgfc__casn_top.add(gdstk.Reference(via__m1_m2, (30.92,11.2), rotation=3*pi/2, x_reflection=True))
bgfc__casn_top.add(gdstk.Reference(via__m1_m2, (40.03,11.2), rotation=3*pi/2, x_reflection=True))
bgfc__casn_top.add(gdstk.Reference(via__li_m1, (67.07,11.375), rotation=3*pi/2))
bgfc__casn_top.add(gdstk.Reference(via__li_m1, (3.25,12.375), rotation=3*pi/2))
bgfc__casn_top.add(gdstk.Reference(via__li_m1, (3.25,13.375), rotation=3*pi/2))
bgfc__casn_top.add(gdstk.Reference(via__m2_m3, (0.2,11.88)))
bgfc__casn_top.add(gdstk.Reference(via__m2_m3, (0.9,12.58)))
bgfc__casn_top.add(gdstk.Reference(via__m2_m3, (1.6,13.28)))
bgfc__casn_top.add(gdstk.Reference(via__m1_m2, (10.95,12.28), rotation=pi))
bgfc__casn_top.add(gdstk.Reference(via__m1_m2, (18.36,12.28), x_reflection=True))
bgfc__casn_top.add(gdstk.Reference(via__m1_m2, (21.26,12.98), rotation=pi))
bgfc__casn_top.add(gdstk.Reference(via__m1_m2, (25.315,13.68), rotation=pi))
bgfc__casn_top.add(gdstk.Reference(via__m1_m2, (28.67,12.98), x_reflection=True))
bgfc__casn_top.add(gdstk.Reference(via__m1_m2, (41.88,12.28), rotation=pi))
bgfc__casn_top.add(gdstk.Reference(via__m1_m2, (52.19,12.98), rotation=pi))
bgfc__casn_top.add(gdstk.Reference(via__m1_m2, (49.29,12.28), x_reflection=True))
bgfc__casn_top.add(gdstk.Reference(via__m1_m2, (56.245,13.68), rotation=pi))
bgfc__casn_top.add(gdstk.Reference(via__m1_m2, (59.6,12.98), x_reflection=True))
bgfc__casn_top.add(gdstk.Reference(via__li_m1, (67.07,12.375), rotation=3*pi/2))
bgfc__casn_top.add(gdstk.Reference(via__li_m1, (67.07,13.375), rotation=3*pi/2))
bgfc__casn_top.add(gdstk.Reference(via__li_m1, (3.25,14.375), rotation=3*pi/2))
bgfc__casn_top.add(gdstk.Reference(via__li_m1, (3.25,15.375), rotation=3*pi/2))
bgfc__casn_top.add(gdstk.Reference(via__m2_m3, (2.3,13.98)))
bgfc__casn_top.add(gdstk.Reference(bgfccnt__dum, (6.49,15.565), rotation=pi, x_reflection=True))
bgfc__casn_top.add(gdstk.Reference(bgfccnt__dum, (12.51,15.565), rotation=pi, x_reflection=True))
bgfc__casn_top.add(gdstk.Reference(via__m1_m2, (15.005,14.38), rotation=pi))
bgfc__casn_top.add(gdstk.Reference(bgfccnt__dum, (16.8,15.565), rotation=pi, x_reflection=True))
bgfc__casn_top.add(gdstk.Reference(bgfccnt__dum, (22.82,15.565), rotation=pi, x_reflection=True))
bgfc__casn_top.add(gdstk.Reference(bgfccnt__dum, (27.11,15.565), rotation=pi, x_reflection=True))
bgfc__casn_top.add(gdstk.Reference(bgfccnt__dum, (33.13,15.565), rotation=pi, x_reflection=True))
bgfc__casn_top.add(gdstk.Reference(bgfccnt__dum, (37.42,15.565), rotation=pi, x_reflection=True))
bgfc__casn_top.add(gdstk.Reference(bgfccnt__dum, (43.44,15.565), rotation=pi, x_reflection=True))
bgfc__casn_top.add(gdstk.Reference(bgfccnt__dum, (47.73,15.565), rotation=pi, x_reflection=True))
bgfc__casn_top.add(gdstk.Reference(via__m1_m2, (45.935,14.38), rotation=pi))
bgfc__casn_top.add(gdstk.Reference(bgfccnt__dum, (53.75,15.565), rotation=pi, x_reflection=True))
bgfc__casn_top.add(gdstk.Reference(bgfccnt__dum, (58.04,15.565), rotation=pi, x_reflection=True))
bgfc__casn_top.add(gdstk.Reference(bgfccnt__dum, (64.06,15.565), rotation=pi, x_reflection=True))
bgfc__casn_top.add(gdstk.Reference(via__li_m1, (67.07,14.375), rotation=3*pi/2))
bgfc__casn_top.add(gdstk.Reference(via__li_m1, (67.07,15.375), rotation=3*pi/2))
bgfc__casn_top.add(gdstk.Reference(via__li_m1, (3.25,16.375), rotation=3*pi/2))
bgfc__casn_top.add(gdstk.Reference(via__li_m1, (67.07,16.375), rotation=3*pi/2))
bgfc__casn_top.add(gdstk.Reference(via__li_m1, (3.835,16.8)))
bgfc__casn_top.add(gdstk.Reference(via__li_m1, (4.835,16.8)))
bgfc__casn_top.add(gdstk.Reference(via__li_m1, (5.835,16.8)))
bgfc__casn_top.add(gdstk.Reference(via__li_m1, (6.835,16.8)))
bgfc__casn_top.add(gdstk.Reference(via__li_m1, (7.835,16.8)))
bgfc__casn_top.add(gdstk.Reference(via__li_m1, (8.835,16.8)))
bgfc__casn_top.add(gdstk.Reference(via__li_m1, (9.835,16.8)))
bgfc__casn_top.add(gdstk.Reference(via__li_m1, (10.835,16.8)))
bgfc__casn_top.add(gdstk.Reference(via__li_m1, (11.835,16.8)))
bgfc__casn_top.add(gdstk.Reference(via__li_m1, (12.835,16.8)))
bgfc__casn_top.add(gdstk.Reference(via__li_m1, (13.835,16.8)))
bgfc__casn_top.add(gdstk.Reference(via__li_m1, (14.835,16.8)))
bgfc__casn_top.add(gdstk.Reference(via__li_m1, (15.835,16.8)))
bgfc__casn_top.add(gdstk.Reference(via__li_m1, (16.835,16.8)))
bgfc__casn_top.add(gdstk.Reference(via__li_m1, (17.835,16.8)))
bgfc__casn_top.add(gdstk.Reference(via__li_m1, (18.835,16.8)))
bgfc__casn_top.add(gdstk.Reference(via__li_m1, (19.835,16.8)))
bgfc__casn_top.add(gdstk.Reference(via__li_m1, (20.835,16.8)))
bgfc__casn_top.add(gdstk.Reference(via__li_m1, (21.835,16.8)))
bgfc__casn_top.add(gdstk.Reference(via__li_m1, (22.835,16.8)))
bgfc__casn_top.add(gdstk.Reference(via__li_m1, (23.835,16.8)))
bgfc__casn_top.add(gdstk.Reference(via__li_m1, (24.835,16.8)))
bgfc__casn_top.add(gdstk.Reference(via__li_m1, (25.835,16.8)))
bgfc__casn_top.add(gdstk.Reference(via__li_m1, (26.835,16.8)))
bgfc__casn_top.add(gdstk.Reference(via__li_m1, (27.835,16.8)))
bgfc__casn_top.add(gdstk.Reference(via__li_m1, (28.835,16.8)))
bgfc__casn_top.add(gdstk.Reference(via__li_m1, (33.835,16.8)))
bgfc__casn_top.add(gdstk.Reference(via__li_m1, (29.835,16.8)))
bgfc__casn_top.add(gdstk.Reference(via__li_m1, (30.835,16.8)))
bgfc__casn_top.add(gdstk.Reference(via__li_m1, (31.835,16.8)))
bgfc__casn_top.add(gdstk.Reference(via__li_m1, (32.835,16.8)))
bgfc__casn_top.add(gdstk.Reference(via__li_m1, (34.835,16.8)))
bgfc__casn_top.add(gdstk.Reference(via__li_m1, (35.835,16.8)))
bgfc__casn_top.add(gdstk.Reference(via__li_m1, (36.835,16.8)))
bgfc__casn_top.add(gdstk.Reference(via__li_m1, (37.835,16.8)))
bgfc__casn_top.add(gdstk.Reference(via__li_m1, (38.835,16.8)))
bgfc__casn_top.add(gdstk.Reference(via__li_m1, (39.835,16.8)))
bgfc__casn_top.add(gdstk.Reference(via__li_m1, (40.835,16.8)))
bgfc__casn_top.add(gdstk.Reference(via__li_m1, (41.835,16.8)))
bgfc__casn_top.add(gdstk.Reference(via__li_m1, (42.835,16.8)))
bgfc__casn_top.add(gdstk.Reference(via__li_m1, (43.835,16.8)))
bgfc__casn_top.add(gdstk.Reference(via__li_m1, (44.835,16.8)))
bgfc__casn_top.add(gdstk.Reference(via__li_m1, (45.835,16.8)))
bgfc__casn_top.add(gdstk.Reference(via__li_m1, (46.835,16.8)))
bgfc__casn_top.add(gdstk.Reference(via__li_m1, (47.835,16.8)))
bgfc__casn_top.add(gdstk.Reference(via__li_m1, (48.835,16.8)))
bgfc__casn_top.add(gdstk.Reference(via__li_m1, (49.835,16.8)))
bgfc__casn_top.add(gdstk.Reference(via__li_m1, (50.835,16.8)))
bgfc__casn_top.add(gdstk.Reference(via__li_m1, (51.835,16.8)))
bgfc__casn_top.add(gdstk.Reference(via__li_m1, (52.835,16.8)))
bgfc__casn_top.add(gdstk.Reference(via__li_m1, (53.835,16.8)))
bgfc__casn_top.add(gdstk.Reference(via__li_m1, (54.835,16.8)))
bgfc__casn_top.add(gdstk.Reference(via__li_m1, (55.835,16.8)))
bgfc__casn_top.add(gdstk.Reference(via__li_m1, (56.835,16.8)))
bgfc__casn_top.add(gdstk.Reference(via__li_m1, (57.835,16.8)))
bgfc__casn_top.add(gdstk.Reference(via__li_m1, (58.835,16.8)))
bgfc__casn_top.add(gdstk.Reference(via__li_m1, (59.835,16.8)))
bgfc__casn_top.add(gdstk.Reference(via__li_m1, (60.835,16.8)))
bgfc__casn_top.add(gdstk.Reference(via__li_m1, (61.835,16.8)))
bgfc__casn_top.add(gdstk.Reference(via__li_m1, (62.835,16.8)))
bgfc__casn_top.add(gdstk.Reference(via__li_m1, (63.835,16.8)))
bgfc__casn_top.add(gdstk.Reference(via__li_m1, (64.835,16.8)))
bgfc__casn_top.add(gdstk.Reference(via__li_m1, (65.835,16.8)))
bgfc__casn_top.add(gdstk.Reference(bgfccnt__guardring_n, (134.07,-26.33)))
bgfc__casn_top.add(gdstk.Label('vbn2', (0.1,9.455), layer=69, texttype=16))
bgfc__casn_top.add(gdstk.Label('vbn1', (0.1,8.54), layer=69, texttype=16))
bgfc__casn_top.add(gdstk.Label('out', (67.495,2.945), layer=69, texttype=16))
bgfc__casn_top.add(gdstk.Label('out', (67.495,14.18), layer=69, texttype=16))
bgfc__casn_top.add(gdstk.Label('mirr', (0.1,13.48), layer=69, texttype=16))
bgfc__casn_top.add(gdstk.Label('out1n', (0.1,12.78), layer=69, texttype=16))
bgfc__casn_top.add(gdstk.Label('out1p', (0.1,12.08), layer=69, texttype=16))

lib.write_gds('bgfc__casn_top.gds')
